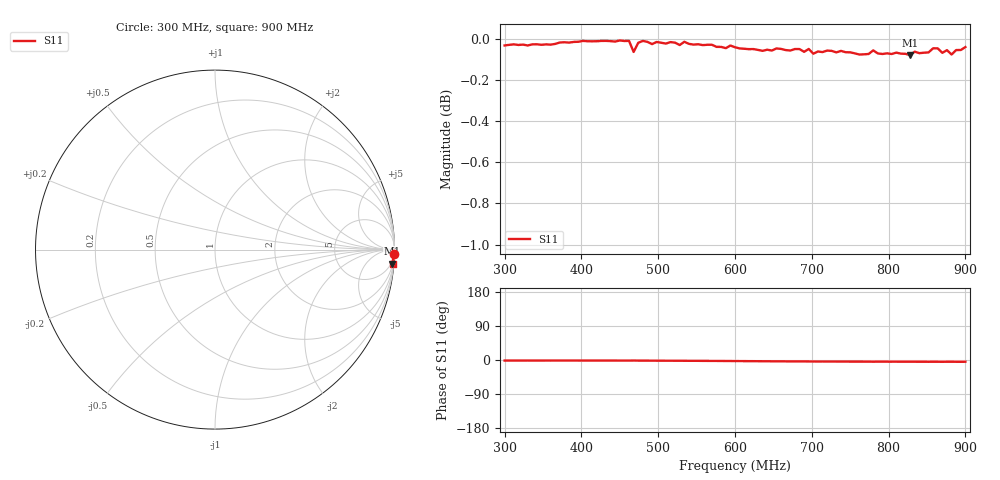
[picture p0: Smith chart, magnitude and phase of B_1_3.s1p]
# HZ S RI R 50
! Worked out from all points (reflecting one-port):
!   101 points, 300 MHz to 900 MHz, reference 50 ohm
!   lowest |S11| = -0.1 dB at 828 MHz (marker M1), VSWR 219.21, Z = 146 - j1.26e+03 ohm
!   phase of S11 starts at -1 deg and turns -3 deg over the sweep
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3e8  0.9959 -0.0253
3.78e8  0.9978 -0.0242
4.5e8  0.9987 -0.0262
4.62e8  0.9985 -0.0277
4.68e8  0.9924 -0.0235
4.74e8  0.9974 -0.0279
4.8e8  0.9984 -0.0283
5.28e8  0.9959 -0.0348
5.34e8  0.9977 -0.036
6e8  0.9941 -0.0484
6.36e8  0.9917 -0.0569
6.78e8  0.9922 -0.0652
6.9e8  0.9906 -0.0653
6.96e8  0.9921 -0.0669
7.02e8  0.9894 -0.068
7.5e8  0.9897 -0.0737
7.74e8  0.9887 -0.0753
7.8e8  0.9905 -0.0776
7.86e8  0.989 -0.0753
8.28e8  0.9879 -0.0776
8.34e8  0.9897 -0.0789
8.52e8  0.989 -0.0815
8.58e8  0.9915 -0.0797
8.7e8  0.9888 -0.0818
8.76e8  0.9904 -0.0807
8.82e8  0.988 -0.0801
8.94e8  0.9903 -0.0829
9e8  0.9921 -0.0807
